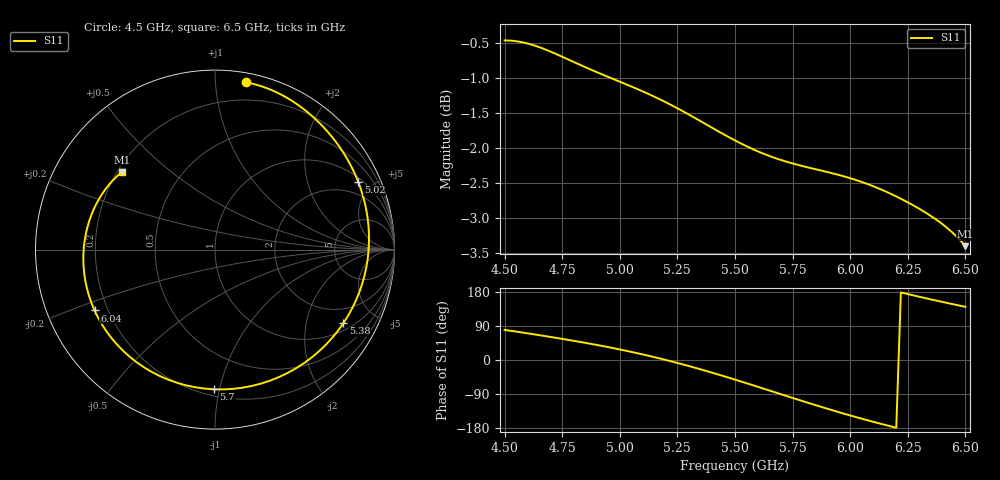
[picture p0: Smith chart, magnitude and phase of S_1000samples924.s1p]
! TOUCHSTONE file generated by CST MICROWAVE STUDIO
! Date and time: Sat Oct 29 19:54:57 2022
! Project name: L.cst
! Parameters = {Di=1.27; Epsilon_r=1.56; InnerDiameter=1.27; Length=2; Lf=10; Lg=60; OuterConductorThickness=0.2921; OuterDiameter=3.6; Wf=3; Wp=41.2; de=1.5; df=6.8; g=0.8; gx=3.66461; gy=1.36737; h=2.34; hf=1.524; px=9.98991; py=10.6225; w=9.7; wx=6.32531; wy=9.25515}
! Header version: 2018
! Port assignment regex: !\s*Touchstone port\s*([0-9]+)\s*=\s*(CST MWS port|CST DS port)\s*([0-9]+|Zmin|Zmax)\s*\(\"(.*)\"\)(\s*mode\s*([0-9]+))?.*
! Touchstone port assignment:
! Touchstone port 1 = CST MWS port 1 ("")
# GHz S DB R 50
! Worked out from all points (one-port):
!   101 points, 4.5 GHz to 6.5 GHz, reference 50 ohm
!   lowest |S11| = -3.4 dB at 6.5 GHz (marker M1), VSWR 5.16, Z = 10.9 + j17.3 ohm
!   |S11| at or under -10 dB: nowhere
!   S11 on the Smith chart (normalised r, x): 4.5 GHz: 0.07, +1.20; 5.02 GHz: 1.21, +4.13; 5.38 GHz: 1.29, -3.29; 5.7 GHz: 0.24, -0.96; 6.04 GHz: 0.15, -0.23; 6.5 GHz: 0.22, +0.35
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4.5  -0.47 79.4
4.62  -0.53 68.5
4.76  -0.71 54.7
4.88  -0.89 42.0
5  -1.06 27.8
5.02  -1.08 25.3
5.14  -1.26 8.9
5.2  -1.35 -0.0
5.26  -1.45 -9.5
5.32  -1.56 -19.4
5.38  -1.68 -29.8
5.44  -1.79 -40.6
5.5  -1.90 -51.8
5.56  -1.99 -63.2
5.6  -2.05 -70.9
5.66  -2.13 -82.6
5.7  -2.18 -90.4
5.76  -2.23 -102.0
5.82  -2.28 -113.5
5.88  -2.33 -124.8
5.94  -2.38 -135.8
6  -2.44 -146.4
6.04  -2.48 -153.2
6.14  -2.61 -169.5
6.2  -2.70 -178.7
6.26  -2.80 172.6
6.38  -3.04 156.0
6.5  -3.41 140.3
